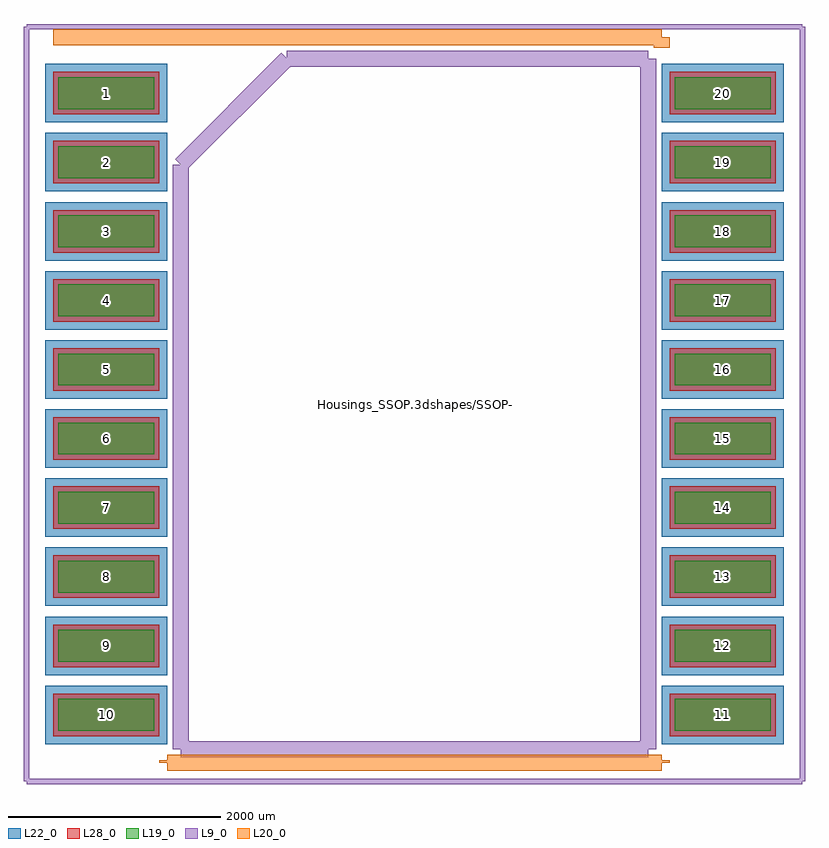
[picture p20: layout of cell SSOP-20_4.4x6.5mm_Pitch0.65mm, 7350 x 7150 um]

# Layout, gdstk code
import gdstk
lib = gdstk.Library(unit=1e-6, precision=1e-09)
def R(c, l, rs):  # rectangles x0, y0, x1, y1
    for r in rs: c.add(gdstk.rectangle(r[:2], r[2:], *l))
def A(c, l, x, y, w, h, nx, ny, dx, dy):  # array of equal rectangles
    R(c, l, [(x+i*dx, y+j*dy, x+i*dx+w, y+j*dy+h) for i in range(nx) for j in range(ny)])
L9_0 = (9, 0)
L19_0 = (19, 0)
L20_0 = (20, 0)
L22_0 = (22, 0)
L28_0 = (28, 0)

ssop_20_4_4x6_5mm_pitch0 = lib.new_cell('SSOP-20_4.4x6.5mm_Pitch0.65mm')
A(ssop_20_4_4x6_5mm_pitch0, L19_0, -3350, -3075, 900, 300, 1, 10, 0, 650)
A(ssop_20_4_4x6_5mm_pitch0, L19_0, 2450, -3075, 900, 300, 1, 10, 0, 650)
A(ssop_20_4_4x6_5mm_pitch0, L22_0, -3475, -3200, 1150, 550, 1, 10, 0, 650)
A(ssop_20_4_4x6_5mm_pitch0, L22_0, 2325, -3200, 1150, 550, 1, 10, 0, 650)
A(ssop_20_4_4x6_5mm_pitch0, L28_0, -3400, -3125, 1000, 400, 1, 10, 0, 650)
A(ssop_20_4_4x6_5mm_pitch0, L28_0, 2400, -3125, 1000, 400, 1, 10, 0, 650)
ssop_20_4_4x6_5mm_pitch0.add(gdstk.FlexPath([(-2325,-3375),(2325,-3375)], 149.998, ends="flush", simple_path=True, layer=20, datatype=0))  # L20_0
ssop_20_4_4x6_5mm_pitch0.add(gdstk.FlexPath([(-3400,3450),(2325,3450)], 149.998, ends="flush", simple_path=True, layer=20, datatype=0))  # L20_0
ssop_20_4_4x6_5mm_pitch0.add(gdstk.FlexPath([(-2325,-3375),(-2325,-3350)], 149.998, ends="flush", simple_path=True, layer=20, datatype=0))  # L20_0
ssop_20_4_4x6_5mm_pitch0.add(gdstk.FlexPath([(2325,-3375),(2325,-3350)], 149.998, ends="flush", simple_path=True, layer=20, datatype=0))  # L20_0
ssop_20_4_4x6_5mm_pitch0.add(gdstk.FlexPath([(2325,3450),(2325,3350)], 149.998, ends="flush", simple_path=True, layer=20, datatype=0))  # L20_0
ssop_20_4_4x6_5mm_pitch0.add(gdstk.FlexPath([(-3650,-3550),(3650,-3550)], 50, ends="flush", simple_path=True, layer=9, datatype=0))  # L9_0
ssop_20_4_4x6_5mm_pitch0.add(gdstk.FlexPath([(-3650,3550),(3650,3550)], 50, ends="flush", simple_path=True, layer=9, datatype=0))  # L9_0
ssop_20_4_4x6_5mm_pitch0.add(gdstk.FlexPath([(3650,3550),(3650,-3550)], 50, ends="flush", simple_path=True, layer=9, datatype=0))  # L9_0
ssop_20_4_4x6_5mm_pitch0.add(gdstk.FlexPath([(-3650,3550),(-3650,-3550)], 50, ends="flush", simple_path=True, layer=9, datatype=0))  # L9_0
ssop_20_4_4x6_5mm_pitch0.add(gdstk.FlexPath([(-2200,2250),(-1200,3250)], 149.998, ends="flush", simple_path=True, layer=9, datatype=0))  # L9_0
ssop_20_4_4x6_5mm_pitch0.add(gdstk.FlexPath([(-2200,-3250),(-2200,2250)], 149.998, ends="flush", simple_path=True, layer=9, datatype=0))  # L9_0
ssop_20_4_4x6_5mm_pitch0.add(gdstk.FlexPath([(2200,-3250),(-2200,-3250)], 149.998, ends="flush", simple_path=True, layer=9, datatype=0))  # L9_0
ssop_20_4_4x6_5mm_pitch0.add(gdstk.FlexPath([(2200,3250),(2200,-3250)], 149.998, ends="flush", simple_path=True, layer=9, datatype=0))  # L9_0
ssop_20_4_4x6_5mm_pitch0.add(gdstk.FlexPath([(-1200,3250),(2200,3250)], 149.998, ends="flush", simple_path=True, layer=9, datatype=0))  # L9_0
ssop_20_4_4x6_5mm_pitch0.add(gdstk.Label('Housings_SSOP.3dshapes/SSOP-20_4.4x6.5mm_Pitch0.65mm.wrl', (0,0), layer=12, texttype=0))
ssop_20_4_4x6_5mm_pitch0.add(gdstk.Label('20', (2900,2925), layer=28, texttype=0))
ssop_20_4_4x6_5mm_pitch0.add(gdstk.Label('19', (2900,2275), layer=28, texttype=0))
ssop_20_4_4x6_5mm_pitch0.add(gdstk.Label('18', (2900,1625), layer=28, texttype=0))
ssop_20_4_4x6_5mm_pitch0.add(gdstk.Label('17', (2900,975), layer=28, texttype=0))
ssop_20_4_4x6_5mm_pitch0.add(gdstk.Label('16', (2900,325), layer=28, texttype=0))
ssop_20_4_4x6_5mm_pitch0.add(gdstk.Label('15', (2900,-325), layer=28, texttype=0))
ssop_20_4_4x6_5mm_pitch0.add(gdstk.Label('14', (2900,-975), layer=28, texttype=0))
ssop_20_4_4x6_5mm_pitch0.add(gdstk.Label('13', (2900,-1625), layer=28, texttype=0))
ssop_20_4_4x6_5mm_pitch0.add(gdstk.Label('12', (2900,-2275), layer=28, texttype=0))
ssop_20_4_4x6_5mm_pitch0.add(gdstk.Label('11', (2900,-2925), layer=28, texttype=0))
ssop_20_4_4x6_5mm_pitch0.add(gdstk.Label('10', (-2900,-2925), layer=28, texttype=0))
ssop_20_4_4x6_5mm_pitch0.add(gdstk.Label('9', (-2900,-2275), layer=28, texttype=0))
ssop_20_4_4x6_5mm_pitch0.add(gdstk.Label('8', (-2900,-1625), layer=28, texttype=0))
ssop_20_4_4x6_5mm_pitch0.add(gdstk.Label('7', (-2900,-975), layer=28, texttype=0))
ssop_20_4_4x6_5mm_pitch0.add(gdstk.Label('6', (-2900,-325), layer=28, texttype=0))
ssop_20_4_4x6_5mm_pitch0.add(gdstk.Label('5', (-2900,325), layer=28, texttype=0))
ssop_20_4_4x6_5mm_pitch0.add(gdstk.Label('4', (-2900,975), layer=28, texttype=0))
ssop_20_4_4x6_5mm_pitch0.add(gdstk.Label('3', (-2900,1625), layer=28, texttype=0))
ssop_20_4_4x6_5mm_pitch0.add(gdstk.Label('2', (-2900,2275), layer=28, texttype=0))
ssop_20_4_4x6_5mm_pitch0.add(gdstk.Label('1', (-2900,2925), layer=28, texttype=0))
ssop_20_4_4x6_5mm_pitch0.add(gdstk.Label('type', (0,-4300), layer=9, texttype=0))
ssop_20_4_4x6_5mm_pitch0.add(gdstk.Label('devicename', (0,4300), layer=9, texttype=0))

lib.write_gds('SSOP-20_4.4x6.5mm_Pitch0.65mm.gds')
